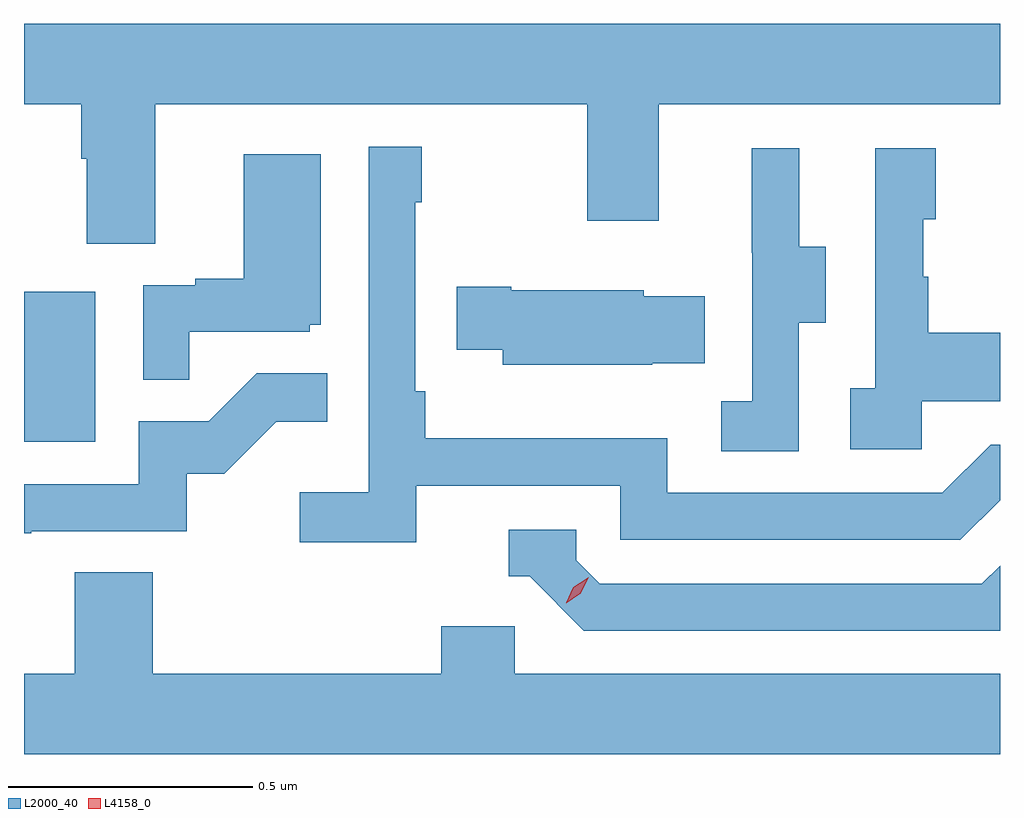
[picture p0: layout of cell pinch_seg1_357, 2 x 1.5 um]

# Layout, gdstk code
import gdstk
lib = gdstk.Library(unit=1e-6, precision=1e-09)
def R(c, l, rs):  # rectangles x0, y0, x1, y1
    for r in rs: c.add(gdstk.rectangle(r[:2], r[2:], *l))
def P(c, l, *ps):  # polygons
    for p in ps: c.add(gdstk.Polygon(p, *l))
L2000_40 = (2000, 40)
L4158_0 = (4158, 0)

pinch_seg1_357 = lib.new_cell('pinch_seg1_357')
R(pinch_seg1_357, L2000_40, [(980.744,552.372,980.89,552.679)])
P(pinch_seg1_357, L2000_40, [(981.013,553.064),(981.898,553.064),(981.898,552.825),(982.045,552.825),(982.045,553.064),(982.744,553.064),(982.744,553.228),(980.744,553.228),(980.744,553.064),(980.861,553.064),(980.861,552.952),(980.873,552.952),(980.873,552.778),(981.013,552.778)],
  [(981.548,552.282),(981.966,552.282),(981.966,552.171),(982.663,552.171),(982.744,552.252),(982.744,552.366),(982.725,552.366),(982.626,552.267),(982.062,552.267),(982.062,552.379),(981.566,552.379),(981.566,552.475),(981.546,552.475),(981.546,552.863),(981.559,552.863),(981.559,552.976),(981.45,552.976),(981.45,552.268),(981.309,552.268),(981.309,552.166),(981.548,552.166)],
  [(982.584,552.455),(982.744,552.455),(982.744,552.595),(982.597,552.595),(982.597,552.71),(982.587,552.71),(982.587,552.828),(982.612,552.828),(982.612,552.973),(982.488,552.973),(982.488,552.482),(982.437,552.482),(982.437,552.357),(982.584,552.357)],
  [(982.332,552.616),(982.387,552.616),(982.387,552.771),(982.333,552.771),(982.333,552.973),(982.235,552.973),(982.235,552.759),(982.236,552.759),(982.236,552.455),(982.173,552.455),(982.173,552.352),(982.332,552.352)],
  [(981.083,552.597),(981.33,552.597),(981.33,552.612),(981.352,552.612),(981.352,552.961),(981.194,552.961),(981.194,552.706),(981.095,552.706),(981.095,552.693),(980.988,552.693),(980.988,552.499),(981.083,552.499)],
  [(982.031,552.533),(982.139,552.533),(982.139,552.67),(982.014,552.67),(982.014,552.682),(981.742,552.682),(981.742,552.69),(981.631,552.69),(981.631,552.56),(981.725,552.56),(981.725,552.53),(982.031,552.53)],
  [(980.759,552.189),(981.078,552.189),(981.078,552.306),(981.154,552.306),(981.261,552.413),(981.365,552.413),(981.365,552.512),(981.221,552.512),(981.123,552.414),(980.979,552.414),(980.979,552.285),(980.744,552.285),(980.744,552.184),(980.759,552.184)],
  [(982.744,552.118),(982.707,552.081),(981.924,552.081),(981.876,552.129),(981.876,552.192),(981.737,552.192),(981.737,552.096),(981.78,552.096),(981.891,551.985),(982.744,551.985)],
  [(982.744,551.896),(981.75,551.896),(981.75,551.994),(981.599,551.994),(981.599,551.896),(981.008,551.896),(981.008,552.104),(980.848,552.104),(980.848,551.896),(980.744,551.896),(980.744,551.732),(982.744,551.732)])
P(pinch_seg1_357, L4158_0, [(981.855,552.041),(981.855,552.042),(981.87,552.074),(981.901,552.094),(981.901,552.094),(981.901,552.094),(981.885,552.061),(981.855,552.041)])

lib.write_gds('pinch_seg1_357.gds')
